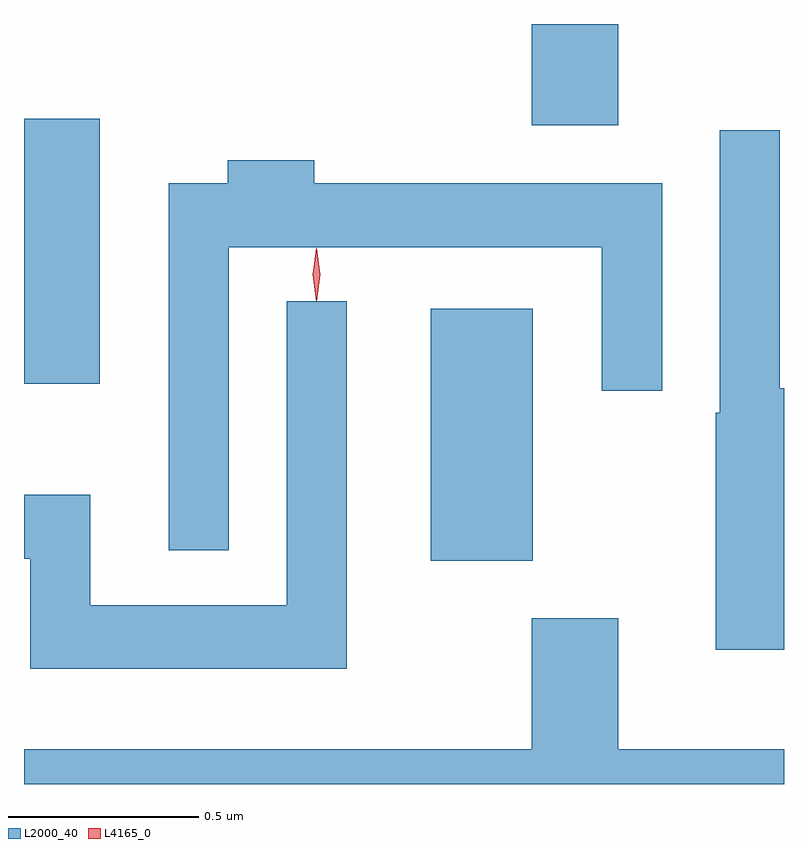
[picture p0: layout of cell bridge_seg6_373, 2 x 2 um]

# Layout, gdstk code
import gdstk
lib = gdstk.Library(unit=1e-6, precision=1e-09)
def R(c, l, rs):  # rectangles x0, y0, x1, y1
    for r in rs: c.add(gdstk.rectangle(r[:2], r[2:], *l))
def P(c, l, *ps):  # polygons
    for p in ps: c.add(gdstk.Polygon(p, *l))
L2000_40 = (2000, 40)
L4165_0 = (4165, 0)

bridge_seg6_373 = lib.new_cell('bridge_seg6_373')
R(bridge_seg6_373, L2000_40, [(1305.646,1533.041,1305.914,1533.704), (1305.911,1534.186,1306.139,1534.453)])
P(bridge_seg6_373, L2000_40, [(1304.774,1534.204),(1304.576,1534.204),(1304.576,1533.989),(1304.575,1533.989),(1304.575,1533.506),(1304.774,1533.506)],
  [(1306.575,1533.494),(1306.564,1533.494),(1306.564,1534.173),(1306.406,1534.173),(1306.406,1533.43),(1306.396,1533.43),(1306.396,1532.806),(1306.575,1532.806)],
  [(1305.114,1533.866),(1306.096,1533.866),(1306.096,1533.488),(1306.254,1533.488),(1306.254,1534.034),(1305.339,1534.034),(1305.339,1534.094),(1305.111,1534.094),(1305.111,1534.034),(1304.956,1534.034),(1304.956,1533.068),(1305.114,1533.068)],
  [(1305.424,1533.723),(1305.266,1533.723),(1305.266,1532.924),(1304.749,1532.924),(1304.749,1533.214),(1304.575,1533.214),(1304.575,1533.046),(1304.591,1533.046),(1304.591,1532.756),(1305.424,1532.756)],
  [(1306.575,1532.544),(1306.139,1532.544),(1306.139,1532.889),(1305.911,1532.889),(1305.911,1532.544),(1304.575,1532.544),(1304.575,1532.453),(1306.575,1532.453)])
P(bridge_seg6_373, L4165_0, [(1305.344,1533.724),(1305.335,1533.793),(1305.344,1533.863),(1305.345,1533.863),(1305.345,1533.863),(1305.355,1533.793),(1305.345,1533.724),(1305.345,1533.724)],
  [(1305.344,1533.727),(1305.335,1533.794),(1305.344,1533.86),(1305.345,1533.861),(1305.345,1533.86),(1305.355,1533.794),(1305.345,1533.727),(1305.345,1533.727)])

lib.write_gds('bridge_seg6_373.gds')
